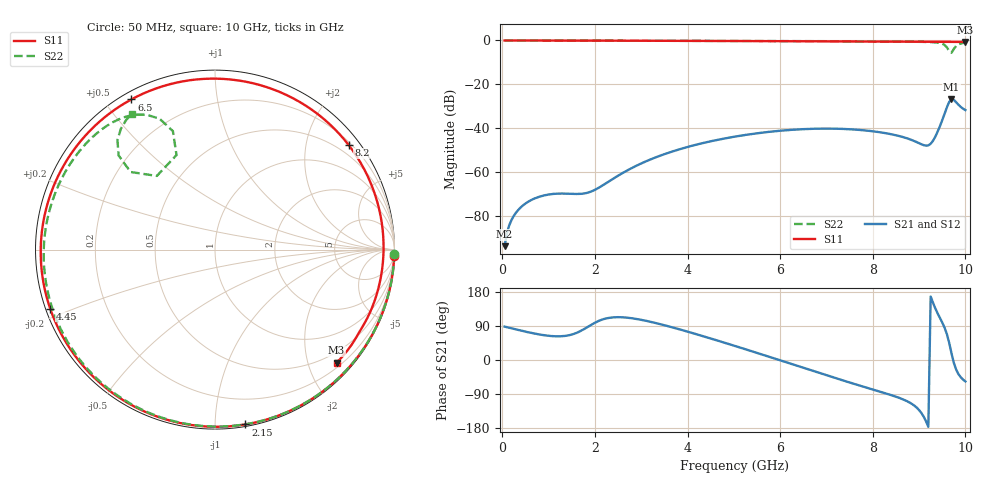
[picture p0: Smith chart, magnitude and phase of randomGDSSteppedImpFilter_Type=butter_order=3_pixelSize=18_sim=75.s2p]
! freq	dB(S11)	phase(S11)	dB(S12)	phase(S12)
!  dB(S21)	phase(S21)	dB(S22)	phase(S22)
!S-par simulation data
#  GHz  S  DB  R 50
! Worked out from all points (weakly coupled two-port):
!   200 points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, 50 MHz to 10 GHz, reference 50 ohm
!   highest |S21| = -26.77 dB at 9.7 GHz (marker M1); lowest = -93.7 dB at 50 MHz (marker M2)
!   lowest |S11| = -0.7 dB at 10 GHz (marker M3), VSWR 25.85, Z = 14.3 - j126 ohm
!   |S11| at or under -10 dB: nowhere
!   |S22| runs from -5.6 to 0.0 dB; largest |S21 - S12| = 0
!   S11 on the Smith chart (normalised r, x): 50 MHz: 2, -59; 2.15 GHz: 0.01, -1.19; 4.45 GHz: 0.01, -0.17; 6.5 GHz: 0.03, +0.59; 8.2 GHz: 0.26, +2.87; 10 GHz: 0.29, -2.51
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0.05  -0.01 -1.9  -93.74 88.1  -93.74 88.1  -0.00 -1.3
0.25  -0.01 -9.6  -79.88 82.2  -79.88 82.2  -0.01 -6.3
0.5  -0.02 -19.2  -74.31 74.9  -74.31 74.9  -0.01 -12.6
0.85  -0.04 -32.5  -70.89 66.4  -70.89 66.4  -0.03 -21.3
1.75  -0.08 -65.8  -69.77 80.5  -69.77 80.5  -0.06 -43.3
2.15  -0.10 -80.1  -66.27 106.4  -66.27 106.4  -0.07 -52.9
3.4  -0.16 -123.7  -52.57 94.9  -52.57 94.9  -0.11 -82.0
4.45  -0.22 -160.3  -46.19 58.6  -46.19 58.6  -0.15 -105.6
5.05  -0.26 177.9  -43.72 36.1  -43.72 36.1  -0.19 -118.9
5.75  -0.31 150.8  -41.68 9.0  -41.68 9.0  -0.23 -134.5
6.5  -0.38 119.1  -40.42 -20.5  -40.42 -20.5  -0.29 -151.5
6.7  -0.39 110.1  -40.26 -28.4  -40.26 -28.4  -0.31 -156.2
7.45  -0.44 74.8  -40.40 -57.5  -40.40 -57.5  -0.38 -174.4
8.2  -0.49 38.1  -41.98 -85.2  -41.98 -85.2  -0.47 165.7
8.35  -0.50 30.8  -42.53 -90.8  -42.53 -90.8  -0.49 161.4
9.2  -0.57 -9.2  -47.80 -176.4  -47.80 -176.4  -0.72 133.3
9.35  -0.59 -15.8  -43.85 136.4  -43.85 136.4  -0.89 126.4
9.55  -0.63 -24.6  -33.45 85.4  -33.45 85.4  -2.03 113.0
9.65  -0.66 -28.7  -28.01 45.3  -28.01 45.3  -4.90 112.2
9.7  -0.67 -30.7  -26.77 17.7  -26.77 17.7  -5.63 128.3
9.8  -0.65 -34.8  -28.15 -25.1  -28.15 -25.1  -2.49 135.7
10  -0.67 -42.9  -31.72 -56.5  -31.72 -56.5  -1.03 121.5
